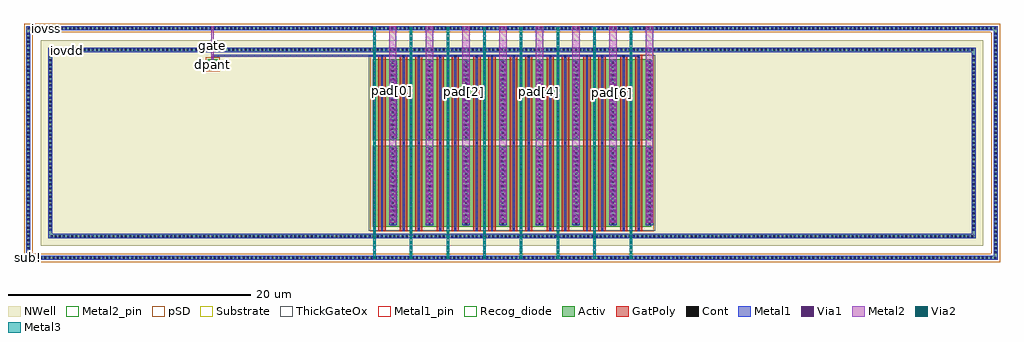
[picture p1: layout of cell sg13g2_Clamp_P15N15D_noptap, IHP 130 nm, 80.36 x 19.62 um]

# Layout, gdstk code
import gdstk
lib = gdstk.Library(unit=1e-6, precision=5e-09)
def R(c, l, rs):  # rectangles x0, y0, x1, y1
    for r in rs: c.add(gdstk.rectangle(r[:2], r[2:], *l))
def A(c, l, x, y, w, h, nx, ny, dx, dy):  # array of equal rectangles
    R(c, l, [(x+i*dx, y+j*dy, x+i*dx+w, y+j*dy+h) for i in range(nx) for j in range(ny)])
def P(c, l, *ps):  # polygons
    for p in ps: c.add(gdstk.Polygon(p, *l))
Activ = (1, 0)
GatPoly = (5, 0)
Cont = (6, 0)
Metal1 = (8, 0)
Metal1_pin = (8, 2)
Metal2 = (10, 0)
Metal2_pin = (10, 2)
pSD = (14, 0)
Via1 = (19, 0)
Via2 = (29, 0)
Metal3 = (30, 0)
NWell = (31, 0)
Substrate = (40, 0)
ThickGateOx = (44, 0)
Recog_diode = (99, 31)

sg13g2_clamp_p15n15d_nop = lib.new_cell('sg13g2_Clamp_P15N15D_noptap')
R(sg13g2_clamp_p15n15d_nop, Activ, [(28.525,2.75,51.475,9.41), (28.525,9.85,51.475,16.51), (14.96,15.71,15.74,16.49)])
P(sg13g2_clamp_p15n15d_nop, Activ, [(0,0),(0,18.92),(0.34,18.92),(0.34,0.34),(79.66,0.34),(79.66,18.92),(0,18.92),(0,19.26),(80,19.26),(80,0)],
  [(1.8,1.8),(1.8,17.12),(2.14,17.12),(2.14,2.14),(77.86,2.14),(77.86,17.12),(1.8,17.12),(1.8,17.46),(78.2,17.46),(78.2,1.8)])
R(sg13g2_clamp_p15n15d_nop, GatPoly, [(28.995,2.38,29.595,16.88), (30.775,2.38,31.375,16.88), (32.015,2.38,32.615,16.88), (33.795,2.38,34.395,16.88), (35.035,2.38,35.635,16.88), (36.815,2.38,37.415,16.88), (38.055,2.38,38.655,16.88), (39.835,2.38,40.435,16.88), (41.075,2.38,41.675,16.88), (42.855,2.38,43.455,16.88), (44.095,2.38,44.695,16.88), (45.875,2.38,46.475,16.88), (47.115,2.38,47.715,16.88), (48.895,2.38,49.495,16.88), (50.135,2.38,50.735,16.88)])
A(sg13g2_clamp_p15n15d_nop, Cont, 0.14, 0.09, 0.16, 0.16, 235, 2, 0.34, 18.92)
A(sg13g2_clamp_p15n15d_nop, Cont, 0.09, 0.54, 0.16, 0.16, 1, 54, 0, 0.34)
A(sg13g2_clamp_p15n15d_nop, Cont, 79.75, 0.54, 0.16, 0.16, 1, 54, 0, 0.34)
A(sg13g2_clamp_p15n15d_nop, Cont, 2.01, 1.89, 0.16, 0.16, 224, 2, 0.34, 15.32)
A(sg13g2_clamp_p15n15d_nop, Cont, 1.89, 2.41, 0.16, 0.16, 1, 43, 0, 0.34)
A(sg13g2_clamp_p15n15d_nop, Cont, 77.95, 2.41, 0.16, 0.16, 1, 43, 0, 0.34)
A(sg13g2_clamp_p15n15d_nop, Cont, 29.215, 2.45, 0.16, 0.16, 1, 3, 0, 7.1)
A(sg13g2_clamp_p15n15d_nop, Cont, 30.995, 2.45, 0.16, 0.16, 1, 3, 0, 7.1)
A(sg13g2_clamp_p15n15d_nop, Cont, 32.235, 2.45, 0.16, 0.16, 1, 3, 0, 7.1)
A(sg13g2_clamp_p15n15d_nop, Cont, 34.015, 2.45, 0.16, 0.16, 1, 3, 0, 7.1)
A(sg13g2_clamp_p15n15d_nop, Cont, 35.255, 2.45, 0.16, 0.16, 1, 3, 0, 7.1)
A(sg13g2_clamp_p15n15d_nop, Cont, 37.035, 2.45, 0.16, 0.16, 1, 3, 0, 7.1)
A(sg13g2_clamp_p15n15d_nop, Cont, 38.275, 2.45, 0.16, 0.16, 1, 3, 0, 7.1)
A(sg13g2_clamp_p15n15d_nop, Cont, 40.055, 2.45, 0.16, 0.16, 1, 3, 0, 7.1)
A(sg13g2_clamp_p15n15d_nop, Cont, 41.295, 2.45, 0.16, 0.16, 1, 3, 0, 7.1)
A(sg13g2_clamp_p15n15d_nop, Cont, 43.075, 2.45, 0.16, 0.16, 1, 3, 0, 7.1)
A(sg13g2_clamp_p15n15d_nop, Cont, 44.315, 2.45, 0.16, 0.16, 1, 3, 0, 7.1)
A(sg13g2_clamp_p15n15d_nop, Cont, 46.095, 2.45, 0.16, 0.16, 1, 3, 0, 7.1)
A(sg13g2_clamp_p15n15d_nop, Cont, 47.335, 2.45, 0.16, 0.16, 1, 3, 0, 7.1)
A(sg13g2_clamp_p15n15d_nop, Cont, 49.115, 2.45, 0.16, 0.16, 1, 3, 0, 7.1)
A(sg13g2_clamp_p15n15d_nop, Cont, 50.355, 2.45, 0.16, 0.16, 1, 3, 0, 7.1)
A(sg13g2_clamp_p15n15d_nop, Cont, 28.595, 2.94, 0.16, 0.16, 16, 19, 1.51, 0.34)
A(sg13g2_clamp_p15n15d_nop, Cont, 28.595, 10.04, 0.16, 0.16, 16, 19, 1.51, 0.34)
R(sg13g2_clamp_p15n15d_nop, Cont, [(15.1,15.85,15.26,16.01), (15.44,15.85,15.6,16.01), (15.1,16.19,15.26,16.35), (15.44,16.19,15.6,16.35)])
A(sg13g2_clamp_p15n15d_nop, Metal1, 28.57, 1.8, 0.21, 0.34, 8, 2, 3.02, 15.32)
A(sg13g2_clamp_p15n15d_nop, Metal1, 28.57, 2.86, 0.21, 6.44, 8, 2, 3.02, 7.1)
A(sg13g2_clamp_p15n15d_nop, Metal1, 29.875, 2.86, 0.62, 6.44, 8, 2, 3.02, 7.1)
R(sg13g2_clamp_p15n15d_nop, Metal1, [(15.05,15.85,15.65,16.35), (15.225,16.03,15.435,16.89)])
P(sg13g2_clamp_p15n15d_nop, Metal1, [(0,0),(0,18.92),(0.34,18.92),(0.34,0.34),(79.66,0.34),(79.66,18.92),(0,18.92),(0,19.26),(80,19.26),(80,0)],
  [(1.8,1.8),(1.8,17.12),(2.14,17.12),(2.14,2.14),(77.86,2.14),(77.86,17.12),(1.8,17.12),(1.8,17.46),(78.2,17.46),(78.2,1.8)],
  [(29.215,2.37),(29.215,16.73),(15.435,16.73),(15.435,15.86),(15.225,15.86),(15.225,16.89),(50.515,16.89),(50.515,2.37),(50.355,2.37),(50.355,16.73),(49.275,16.73),(49.275,2.37),(49.115,2.37),(49.115,16.73),(47.495,16.73),(47.495,2.37),(47.335,2.37),(47.335,16.73),(46.255,16.73),(46.255,2.37),(46.095,2.37),(46.095,16.73),(44.475,16.73),(44.475,2.37),(44.315,2.37),(44.315,16.73),(43.235,16.73),(43.235,2.37),(43.075,2.37),(43.075,16.73),(41.455,16.73),(41.455,2.37),(41.295,2.37),(41.295,16.73),(40.215,16.73),(40.215,2.37),(40.055,2.37),(40.055,16.73),(38.435,16.73),(38.435,2.37),(38.275,2.37),(38.275,16.73),(37.195,16.73),(37.195,2.37),(37.035,2.37),(37.035,16.73),(35.415,16.73),(35.415,2.37),(35.255,2.37),(35.255,16.73),(34.175,16.73),(34.175,2.37),(34.015,2.37),(34.015,16.73),(32.395,16.73),(32.395,2.37),(32.235,2.37),(32.235,16.73),(31.155,16.73),(31.155,2.37),(30.995,2.37),(30.995,16.73),(29.375,16.73),(29.375,2.37)])
R(sg13g2_clamp_p15n15d_nop, Metal1_pin, [(2.605,17.185,3.82,17.4), (0.865,18.955,2.2,19.2)])
A(sg13g2_clamp_p15n15d_nop, Metal2, 28.575, 0, 0.2, 19.26, 8, 1, 3.02, 0)
A(sg13g2_clamp_p15n15d_nop, Metal2, 29.88, 3.065, 0.61, 16.195, 8, 1, 3.02, 0)
R(sg13g2_clamp_p15n15d_nop, Metal2, [(15.23,16.025,15.43,19.26), (15.23,16.03,15.43,16.89)])
A(sg13g2_clamp_p15n15d_nop, Metal2_pin, 29.88, 3.065, 0.61, 16.195, 8, 1, 3.02, 0)
R(sg13g2_clamp_p15n15d_nop, Metal2_pin, [(29.88,3.065,30.49,19.26), (15.23,16.025,15.43,19.26)])
R(sg13g2_clamp_p15n15d_nop, pSD, [(28.345,2.35,51.655,16.91), (14.78,15.53,15.92,16.67)])
P(sg13g2_clamp_p15n15d_nop, pSD, [(-0.18,-0.18),(-0.18,18.74),(0.52,18.74),(0.52,0.52),(79.48,0.52),(79.48,18.74),(-0.18,18.74),(-0.18,19.44),(80.18,19.44),(80.18,-0.18)])
A(sg13g2_clamp_p15n15d_nop, Via1, 28.58, 1.875, 0.19, 0.19, 8, 2, 3.02, 15.32)
A(sg13g2_clamp_p15n15d_nop, Via1, 28.58, 3.115, 0.19, 0.19, 1, 15, 0, 0.41)
A(sg13g2_clamp_p15n15d_nop, Via1, 29.885, 3.115, 0.19, 0.19, 1, 15, 0, 0.41)
A(sg13g2_clamp_p15n15d_nop, Via1, 30.295, 3.115, 0.19, 0.19, 3, 15, 1.305, 0.41)
A(sg13g2_clamp_p15n15d_nop, Via1, 33.315, 3.115, 0.19, 0.19, 3, 15, 1.305, 0.41)
A(sg13g2_clamp_p15n15d_nop, Via1, 36.335, 3.115, 0.19, 0.19, 3, 15, 1.305, 0.41)
A(sg13g2_clamp_p15n15d_nop, Via1, 39.355, 3.115, 0.19, 0.19, 3, 15, 1.305, 0.41)
A(sg13g2_clamp_p15n15d_nop, Via1, 42.375, 3.115, 0.19, 0.19, 3, 15, 1.305, 0.41)
A(sg13g2_clamp_p15n15d_nop, Via1, 45.395, 3.115, 0.19, 0.19, 3, 15, 1.305, 0.41)
A(sg13g2_clamp_p15n15d_nop, Via1, 48.415, 3.115, 0.19, 0.19, 3, 15, 1.305, 0.41)
A(sg13g2_clamp_p15n15d_nop, Via1, 51.435, 3.115, 0.19, 0.19, 1, 15, 0, 0.41)
A(sg13g2_clamp_p15n15d_nop, Via1, 28.58, 10.215, 0.19, 0.19, 1, 15, 0, 0.41)
A(sg13g2_clamp_p15n15d_nop, Via1, 29.885, 10.215, 0.19, 0.19, 1, 15, 0, 0.41)
A(sg13g2_clamp_p15n15d_nop, Via1, 30.295, 10.215, 0.19, 0.19, 3, 15, 1.305, 0.41)
A(sg13g2_clamp_p15n15d_nop, Via1, 33.315, 10.215, 0.19, 0.19, 3, 15, 1.305, 0.41)
A(sg13g2_clamp_p15n15d_nop, Via1, 36.335, 10.215, 0.19, 0.19, 3, 15, 1.305, 0.41)
A(sg13g2_clamp_p15n15d_nop, Via1, 39.355, 10.215, 0.19, 0.19, 3, 15, 1.305, 0.41)
A(sg13g2_clamp_p15n15d_nop, Via1, 42.375, 10.215, 0.19, 0.19, 3, 15, 1.305, 0.41)
A(sg13g2_clamp_p15n15d_nop, Via1, 45.395, 10.215, 0.19, 0.19, 3, 15, 1.305, 0.41)
A(sg13g2_clamp_p15n15d_nop, Via1, 48.415, 10.215, 0.19, 0.19, 3, 15, 1.305, 0.41)
A(sg13g2_clamp_p15n15d_nop, Via1, 51.435, 10.215, 0.19, 0.19, 1, 15, 0, 0.41)
R(sg13g2_clamp_p15n15d_nop, Via1, [(15.235,16.12,15.425,16.31), (15.235,16.6,15.425,16.79)])
A(sg13g2_clamp_p15n15d_nop, Via2, 28.58, 0.105, 0.19, 0.19, 8, 47, 3.02, 0.41)
A(sg13g2_clamp_p15n15d_nop, Metal3, 28.575, 0.055, 0.2, 19.15, 8, 1, 3.02, 0)
R(sg13g2_clamp_p15n15d_nop, NWell, [(1.18,1.18,78.82,18.08), (27.905,2.13,52.095,17.13)])
P(sg13g2_clamp_p15n15d_nop, Substrate, [(0,0),(0,18.92),(0.34,18.92),(0.34,0.34),(79.66,0.34),(79.66,18.92),(0,18.92),(0,19.26),(80,19.26),(80,0)])
R(sg13g2_clamp_p15n15d_nop, ThickGateOx, [(28.185,2.41,51.815,16.85)])
R(sg13g2_clamp_p15n15d_nop, Recog_diode, [(14.94,15.69,15.76,16.51), (15.16,15.85,15.5,16.53)])
sg13g2_clamp_p15n15d_nop.add(gdstk.Label('sub!', (0.17,0.17), layer=63, texttype=0))
sg13g2_clamp_p15n15d_nop.add(gdstk.Label('dpant', (15.35,16.1), layer=63, texttype=0))
sg13g2_clamp_p15n15d_nop.add(gdstk.Label('iovss', (1.67,19.09), layer=8, texttype=25))
sg13g2_clamp_p15n15d_nop.add(gdstk.Label('iovdd', (3.435,17.285), layer=8, texttype=25))
sg13g2_clamp_p15n15d_nop.add(gdstk.Label('pad[0]', (30.19,13.975), layer=10, texttype=25))
sg13g2_clamp_p15n15d_nop.add(gdstk.Label('pad[1]', (33.195,13.875), layer=10, texttype=25))
sg13g2_clamp_p15n15d_nop.add(gdstk.Label('pad[2]', (36.125,13.855), layer=10, texttype=25))
sg13g2_clamp_p15n15d_nop.add(gdstk.Label('pad[3]', (39.245,13.895), layer=10, texttype=25))
sg13g2_clamp_p15n15d_nop.add(gdstk.Label('pad[4]', (42.29,13.875), layer=10, texttype=25))
sg13g2_clamp_p15n15d_nop.add(gdstk.Label('pad[5]', (45.275,13.755), layer=10, texttype=25))
sg13g2_clamp_p15n15d_nop.add(gdstk.Label('pad[6]', (48.28,13.755), layer=10, texttype=25))
sg13g2_clamp_p15n15d_nop.add(gdstk.Label('pad[7]', (51.285,13.795), layer=10, texttype=25))
sg13g2_clamp_p15n15d_nop.add(gdstk.Label('gate', (15.33,17.645), layer=10, texttype=25))

lib.write_gds('sg13g2_Clamp_P15N15D_noptap.gds')
